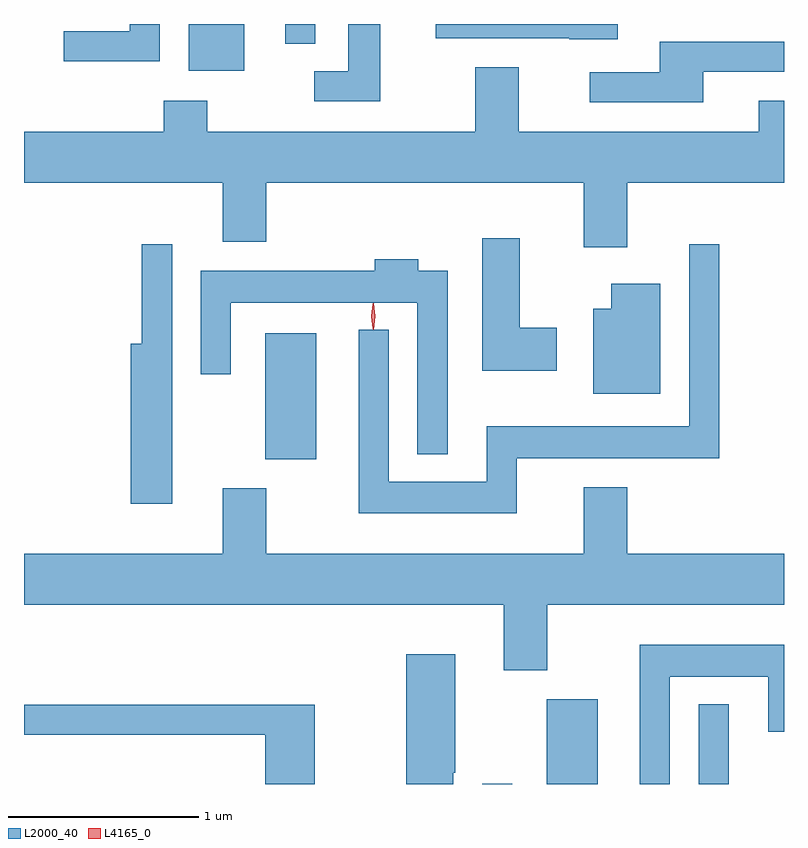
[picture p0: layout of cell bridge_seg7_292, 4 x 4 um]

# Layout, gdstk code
import gdstk
lib = gdstk.Library(unit=1e-6, precision=1e-09)
def R(c, l, rs):  # rectangles x0, y0, x1, y1
    for r in rs: c.add(gdstk.rectangle(r[:2], r[2:], *l))
def P(c, l, *ps):  # polygons
    for p in ps: c.add(gdstk.Polygon(p, *l))
L2000_40 = (2000, 40)
L4165_0 = (4165, 0)

bridge_seg7_292 = lib.new_cell('bridge_seg7_292')
R(bridge_seg7_292, L2000_40, [(1317.896,1797.732,1318.054,1797.733), (1318.236,1797.732,1318.504,1798.179), (1319.036,1797.732,1319.194,1798.153), (1316.756,1799.441,1317.024,1800.104), (1316.351,1801.486,1316.644,1801.732), (1316.861,1801.628,1317.019,1801.732)])
P(bridge_seg7_292, L2000_40, [(1317.359,1801.732),(1317.191,1801.732),(1317.191,1801.484),(1317.013,1801.484),(1317.013,1801.326),(1317.359,1801.326)],
  [(1318.609,1801.732),(1317.651,1801.732),(1317.651,1801.656),(1318.355,1801.656),(1318.355,1801.651),(1318.609,1801.651)],
  [(1316.199,1801.732),(1316.041,1801.732),(1316.041,1801.694),(1315.693,1801.694),(1315.693,1801.536),(1316.199,1801.536)],
  [(1319.059,1801.481),(1319.485,1801.481),(1319.485,1801.639),(1318.831,1801.639),(1318.831,1801.479),(1318.463,1801.479),(1318.463,1801.321),(1319.059,1801.321)],
  [(1318.659,1800.896),(1319.485,1800.896),(1319.485,1801.329),(1319.351,1801.329),(1319.351,1801.164),(1318.089,1801.164),(1318.089,1801.504),(1317.861,1801.504),(1317.861,1801.164),(1316.449,1801.164),(1316.449,1801.329),(1316.221,1801.329),(1316.221,1801.164),(1315.485,1801.164),(1315.485,1800.896),(1316.531,1800.896),(1316.531,1800.586),(1316.759,1800.586),(1316.759,1800.896),(1318.431,1800.896),(1318.431,1800.556),(1318.659,1800.556)],
  [(1318.289,1800.134),(1318.094,1800.134),(1318.094,1800.604),(1317.896,1800.604),(1317.896,1799.906),(1318.289,1799.906)],
  [(1318.079,1799.446),(1319.144,1799.446),(1319.144,1800.573),(1318.986,1800.573),(1318.986,1799.614),(1317.921,1799.614),(1317.921,1799.324),(1317.404,1799.324),(1317.404,1800.123),(1317.246,1800.123),(1317.246,1799.156),(1318.079,1799.156)],
  [(1316.264,1800.573),(1316.106,1800.573),(1316.106,1800.049),(1316.046,1800.049),(1316.046,1799.206),(1316.264,1799.206)],
  [(1317.714,1800.434),(1317.559,1800.434),(1317.559,1800.494),(1317.331,1800.494),(1317.331,1800.434),(1316.416,1800.434),(1316.416,1799.888),(1316.574,1799.888),(1316.574,1800.266),(1317.556,1800.266),(1317.556,1799.468),(1317.714,1799.468)],
  [(1318.834,1800.364),(1318.576,1800.364),(1318.576,1800.234),(1318.481,1800.234),(1318.481,1799.786),(1318.834,1799.786)],
  [(1318.239,1798.676),(1319.485,1798.676),(1319.485,1798.944),(1318.659,1798.944),(1318.659,1799.294),(1318.431,1799.294),(1318.431,1798.944),(1316.759,1798.944),(1316.759,1799.289),(1316.531,1799.289),(1316.531,1798.944),(1315.485,1798.944),(1315.485,1798.676),(1318.011,1798.676),(1318.011,1798.331),(1318.239,1798.331)],
  [(1318.884,1798.296),(1319.401,1798.296),(1319.401,1798.006),(1319.485,1798.006),(1319.485,1798.464),(1318.726,1798.464),(1318.726,1797.732),(1318.884,1797.732)],
  [(1317.744,1797.79),(1317.754,1797.79),(1317.754,1798.414),(1317.496,1798.414),(1317.496,1797.732),(1317.744,1797.732)],
  [(1317.014,1798.149),(1315.485,1798.149),(1315.485,1797.991),(1316.756,1797.991),(1316.756,1797.732),(1317.014,1797.732)])
P(bridge_seg7_292, L4165_0, [(1317.324,1800.124),(1317.324,1800.124),(1317.314,1800.193),(1317.324,1800.262),(1317.324,1800.263),(1317.325,1800.262),(1317.334,1800.193),(1317.325,1800.124)],
  [(1317.321,1800.127),(1317.312,1800.194),(1317.321,1800.26),(1317.322,1800.26),(1317.322,1800.26),(1317.332,1800.194),(1317.322,1800.127),(1317.322,1800.127)])

lib.write_gds('bridge_seg7_292.gds')
